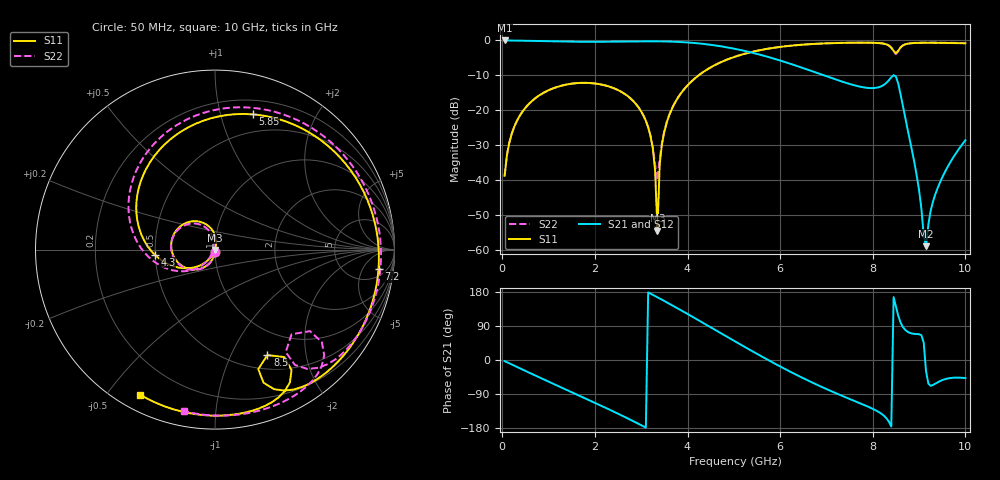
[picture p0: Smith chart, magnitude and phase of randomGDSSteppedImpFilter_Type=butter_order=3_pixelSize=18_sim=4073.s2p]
! freq	dB(S11)	phase(S11)	dB(S12)	phase(S12)
!  dB(S21)	phase(S21)	dB(S22)	phase(S22)
!S-par simulation data
#  GHz  S  DB  R 50
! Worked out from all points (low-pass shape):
!   200 points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, 50 MHz to 10 GHz, reference 50 ohm
!   highest |S21| = -0.01 dB at 50 MHz (marker M1); lowest = -59.0 dB at 9.15 GHz (marker M2)
!   |S21| within 3 dB of the highest: start of sweep to 5.233 GHz
!   lowest |S11| = -54.6 dB at 3.35 GHz (marker M3), VSWR 1.00, Z = 49.9 - j0.163 ohm
!   |S11| at or under -10 dB: start of sweep to 4.242 GHz
!   |S22| runs from -40.1 to -0.6 dB; largest |S21 - S12| = 0
!   S11 on the Smith chart (normalised r, x): 50 MHz: 1.00, -0.02; 4.3 GHz: 0.50, -0.03; 5.85 GHz: 0.33, +1.26; 7.2 GHz: 8, -11; 8.5 GHz: 0.67, -1.39; 10 GHz: 0.07, -0.61
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0.05  -38.84 -92.4  -0.01 -2.9  -0.01 -2.9  -38.84 -92.3
0.2  -26.94 -101.7  -0.03 -11.6  -0.03 -11.6  -26.94 -101.4
0.5  -19.31 -119.7  -0.09 -28.8  -0.09 -28.8  -19.31 -118.8
1.75  -12.16 168.8  -0.39 -98.9  -0.39 -98.9  -12.17 172.3
3.05  -21.60 91.0  -0.26 -175.2  -0.26 -175.2  -21.59 102.5
3.25  -30.94 78.2  -0.25 172.0  -0.25 172.0  -30.61 102.6
3.3  -37.33 75.1  -0.26 168.8  -0.26 168.8  -35.74 117.7
3.35  -54.55 -119.5  -0.26 165.5  -0.26 165.5  -40.11 179.6
3.4  -35.31 -112.5  -0.27 162.2  -0.27 162.2  -33.91 -134.7
3.65  -19.98 -129.2  -0.34 145.6  -0.34 145.6  -19.89 -127.6
4.3  -9.42 -175.4  -0.93 100.5  -0.93 100.5  -9.40 -167.5
5.05  -4.56 130.3  -2.48 47.4  -2.48 47.4  -4.55 141.7
5.85  -2.13 74.5  -5.16 -7.3  -5.16 -7.3  -2.13 88.6
6.7  -1.02 21.1  -8.88 -59.9  -8.88 -59.9  -1.02 36.6
7.2  -0.75 -6.7  -11.21 -87.4  -11.21 -87.4  -0.74 9.0
8.35  -1.47 -67.1  -11.38 -163.0  -11.38 -163.0  -1.50 -52.2
8.5  -3.66 -63.6  -10.36 141.4  -10.36 141.4  -3.93 -47.9
8.65  -1.42 -60.6  -18.81 87.0  -18.81 87.0  -1.45 -44.1
8.95  -0.71 -77.1  -38.87 68.5  -38.87 68.5  -0.67 -61.0
9.15  -0.67 -85.6  -59.02 -29.2  -59.02 -29.2  -0.63 -69.6
9.35  -0.68 -93.4  -44.14 -62.5  -44.14 -62.5  -0.63 -77.4
10  -0.83 -117.3  -28.64 -47.8  -28.64 -47.8  -0.76 -100.7
